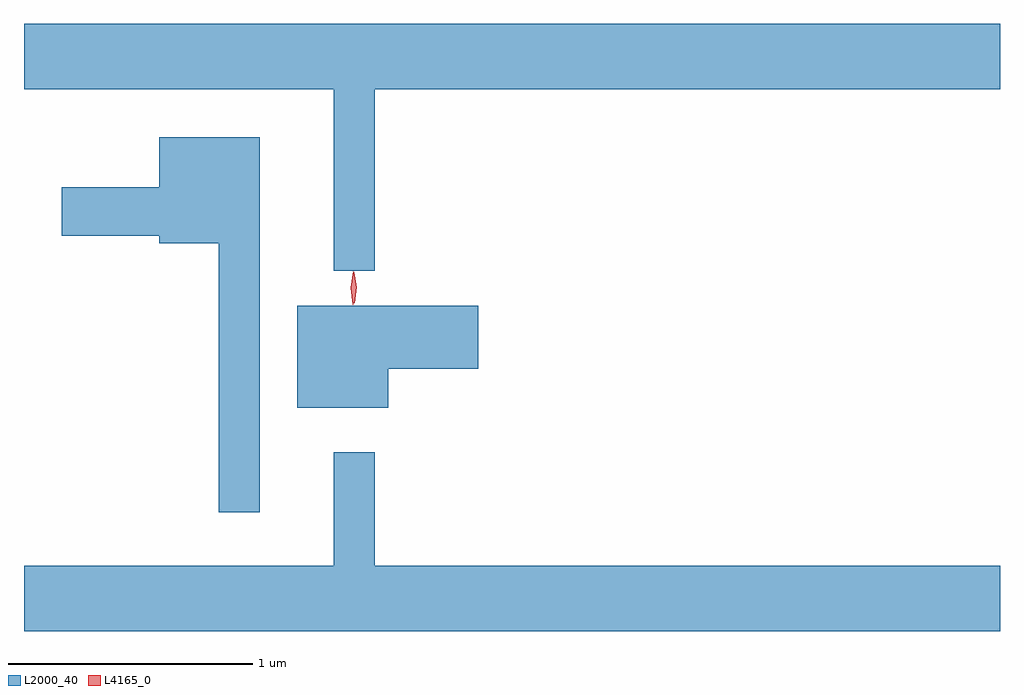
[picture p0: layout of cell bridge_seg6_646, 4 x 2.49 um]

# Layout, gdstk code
import gdstk
lib = gdstk.Library(unit=1e-6, precision=1e-09)
def P(c, l, *ps):  # polygons
    for p in ps: c.add(gdstk.Polygon(p, *l))
L2000_40 = (2000, 40)
L4165_0 = (4165, 0)

bridge_seg6_646 = lib.new_cell('bridge_seg6_646')
P(bridge_seg6_646, L2000_40, [(239.119,1629.956),(241.682,1629.956),(241.682,1630.224),(237.682,1630.224),(237.682,1629.956),(238.951,1629.956),(238.951,1629.213),(239.119,1629.213)],
  [(238.649,1629.759),(238.236,1629.759),(238.236,1629.554),(237.836,1629.554),(237.836,1629.356),(238.236,1629.356),(238.236,1629.326),(238.481,1629.326),(238.481,1628.223),(238.649,1628.223)],
  [(239.174,1628.811),(239.544,1628.811),(239.544,1629.069),(238.801,1629.069),(238.801,1628.651),(239.174,1628.651)],
  [(241.682,1628.004),(239.119,1628.004),(239.119,1628.468),(238.951,1628.468),(238.951,1628.004),(237.682,1628.004),(237.682,1627.736),(241.682,1627.736)])
P(bridge_seg6_646, L4165_0, [(239.036,1629.08),(239.036,1629.081),(239.026,1629.144),(239.034,1629.206),(239.035,1629.207),(239.036,1629.206),(239.046,1629.144),(239.037,1629.081)],
  [(239.03,1629.074),(239.03,1629.074),(239.021,1629.142),(239.031,1629.21),(239.032,1629.21),(239.032,1629.21),(239.041,1629.142),(239.031,1629.074)])

lib.write_gds('bridge_seg6_646.gds')
